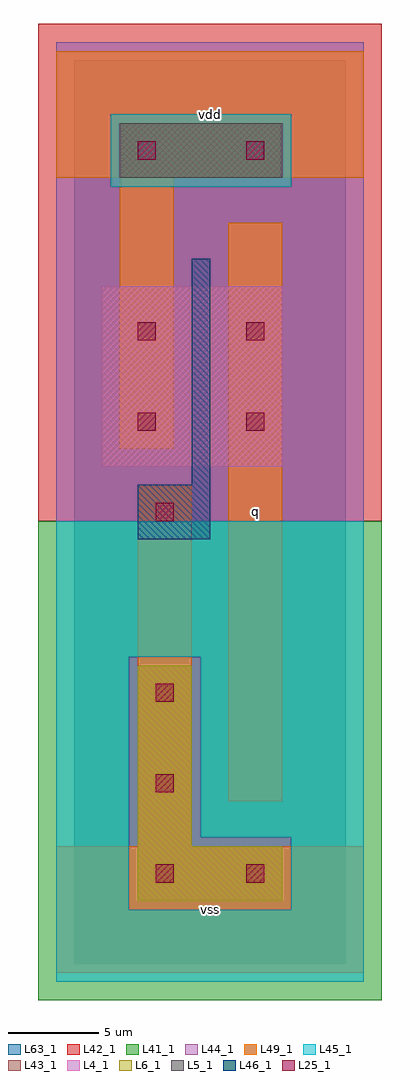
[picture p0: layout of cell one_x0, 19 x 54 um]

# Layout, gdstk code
import gdstk
lib = gdstk.Library(unit=1e-6, precision=1e-09)
def R(c, l, rs):  # rectangles x0, y0, x1, y1
    for r in rs: c.add(gdstk.rectangle(r[:2], r[2:], *l))
def A(c, l, x, y, w, h, nx, ny, dx, dy):  # array of equal rectangles
    R(c, l, [(x+i*dx, y+j*dy, x+i*dx+w, y+j*dy+h) for i in range(nx) for j in range(ny)])
L4_1 = (4, 1)
L5_1 = (5, 1)
L6_1 = (6, 1)
L25_1 = (25, 1)
L41_1 = (41, 1)
L42_1 = (42, 1)
L43_1 = (43, 1)
L44_1 = (44, 1)
L45_1 = (45, 1)
L46_1 = (46, 1)
L49_1 = (49, 1)
L63_1 = (63, 1)

one_x0 = lib.new_cell('one_x0')
R(one_x0, L4_1, [(1.5,27.5,11.5,37.5)])
R(one_x0, L5_1, [(2.5,43.5,11.5,46.5)])
R(one_x0, L6_1, [(3.5,3.5,11.5,6.5), (3.5,6.5,6.5,16.5)])
A(one_x0, L25_1, 4.5, 4.5, 1, 1, 1, 3, 0, 5)
R(one_x0, L25_1, [(9.5,4.5,10.5,5.5), (4.5,24.5,5.5,25.5), (3.5,29.5,4.5,30.5), (9.5,29.5,10.5,30.5), (3.5,34.5,4.5,35.5), (9.5,34.5,10.5,35.5), (3.5,44.5,4.5,45.5), (9.5,44.5,10.5,45.5)])
R(one_x0, L41_1, [(-2,-2,17,24.5)])
R(one_x0, L42_1, [(-2,24.5,17,52)])
R(one_x0, L43_1, [(3.5,3.5,11.5,6.5), (3.5,6.5,6.5,16.5), (1.5,27.5,11.5,37.5), (2.5,43.5,11.5,46.5)])
R(one_x0, L44_1, [(3,3,12,7), (3,7,7,17), (-1,24.5,16,43), (-1,43,2,47), (12,43,16,47), (-1,47,16,51)])
R(one_x0, L45_1, [(-1,-1,16,3), (-1,3,3,17), (12,3,16,7), (7,7,16,17), (-1,17,16,24.5), (2,43,12,47)])
R(one_x0, L46_1, [(3.5,23.5,7.5,26.5), (6.5,26.5,7.5,39)])
R(one_x0, L49_1, [(-1,-0.5,16,6.5), (3.5,6.5,6.5,26.5), (8.5,9,11.5,41), (2.5,28.5,5.5,43.5), (-1,43.5,16,50.5)])
R(one_x0, L63_1, [(0,0,15,50)])
one_x0.add(gdstk.Label('vss', (7.5,3), layer=49, texttype=1))
one_x0.add(gdstk.Label('vss', (7.5,3), layer=49, texttype=1))
one_x0.add(gdstk.Label('vdd', (7.5,47), layer=49, texttype=1))
one_x0.add(gdstk.Label('vdd', (7.5,47), layer=49, texttype=1))
one_x0.add(gdstk.Label('q', (10,25), layer=49, texttype=1))
one_x0.add(gdstk.Label('q', (10,25), layer=49, texttype=1))

lib.write_gds('one_x0.gds')
